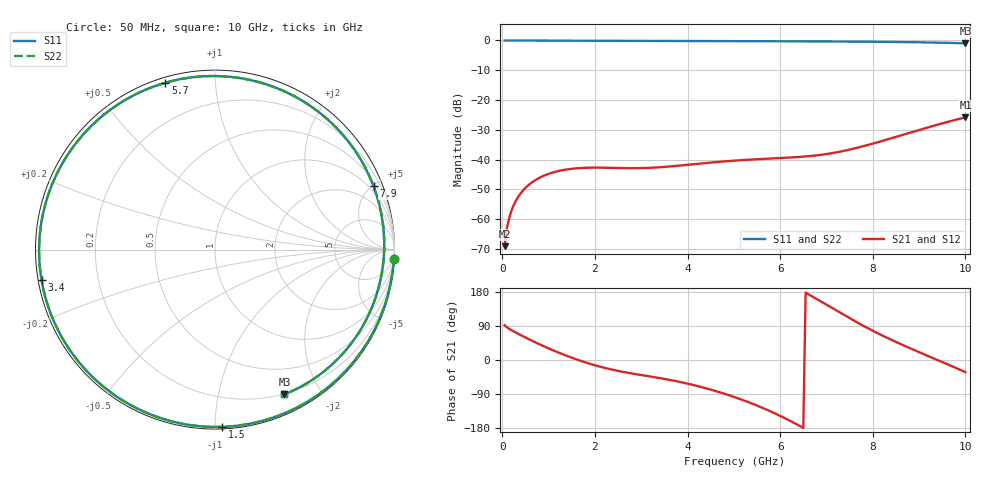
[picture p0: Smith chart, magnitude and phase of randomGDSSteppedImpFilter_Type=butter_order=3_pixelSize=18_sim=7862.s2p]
! freq	dB(S11)	phase(S11)	dB(S12)	phase(S12)
!  dB(S21)	phase(S21)	dB(S22)	phase(S22)
!S-par simulation data
#  GHz  S  DB  R 50
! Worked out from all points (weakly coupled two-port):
!   200 points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, 50 MHz to 10 GHz, reference 50 ohm
!   highest |S21| = -25.83 dB at 10 GHz (marker M1); lowest = -69.0 dB at 50 MHz (marker M2)
!   lowest |S11| = -1.0 dB at 10 GHz (marker M3), VSWR 17.96, Z = 9.74 - j78.6 ohm
!   |S11| at or under -10 dB: nowhere
!   |S22| runs from -1.0 to 0.0 dB; largest |S21 - S12| = 0
!   S11 on the Smith chart (normalised r, x): 50 MHz: 1, -38; 1.5 GHz: 0.01, -1.04; 3.4 GHz: 0.01, -0.09; 5.7 GHz: 0.02, +0.75; 7.9 GHz: 0.69, +5.11; 10 GHz: 0.19, -1.57
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0.05  -0.01 -3.0  -69.02 91.8  -69.02 91.8  -0.01 -3.0
0.1  -0.03 -6.2  -63.00 86.1  -63.00 86.1  -0.02 -6.2
0.2  -0.03 -12.4  -57.03 78.6  -57.03 78.6  -0.03 -12.4
0.45  -0.05 -28.0  -50.31 62.4  -50.31 62.4  -0.04 -28.0
0.7  -0.06 -43.1  -47.00 47.3  -47.00 47.3  -0.06 -43.1
1  -0.07 -60.5  -44.76 30.6  -44.76 30.6  -0.07 -60.5
1.5  -0.10 -87.6  -43.06 6.1  -43.06 6.1  -0.10 -87.6
1.75  -0.11 -100.1  -42.75 -4.5  -42.75 -4.5  -0.11 -100.1
2.15  -0.13 -118.9  -42.68 -18.9  -42.68 -18.9  -0.13 -118.9
2.6  -0.14 -138.4  -42.83 -31.2  -42.83 -31.2  -0.14 -138.4
3.4  -0.16 -170.0  -42.55 -47.7  -42.55 -47.7  -0.16 -170.0
4.2  -0.19 160.7  -41.42 -68.2  -41.42 -68.2  -0.19 160.7
5.05  -0.23 130.2  -40.28 -99.4  -40.28 -99.4  -0.23 130.2
5.7  -0.27 106.6  -39.69 -130.6  -39.69 -130.6  -0.27 106.6
6.2  -0.29 88.0  -39.30 -159.5  -39.30 -159.5  -0.29 88.0
6.7  -0.33 69.0  -38.71 167.2  -38.71 167.2  -0.32 69.0
7.25  -0.37 47.6  -37.45 127.9  -37.45 127.9  -0.37 47.5
7.9  -0.43 21.8  -35.05 83.5  -35.05 83.5  -0.43 21.8
8.35  -0.50 3.7  -33.06 56.2  -33.06 56.2  -0.50 3.7
8.75  -0.57 -12.5  -31.22 33.9  -31.22 33.9  -0.57 -12.5
9.15  -0.67 -28.8  -29.38 12.9  -29.38 12.9  -0.67 -28.8
10  -0.97 -64.4  -25.83 -32.1  -25.83 -32.1  -0.97 -64.4
